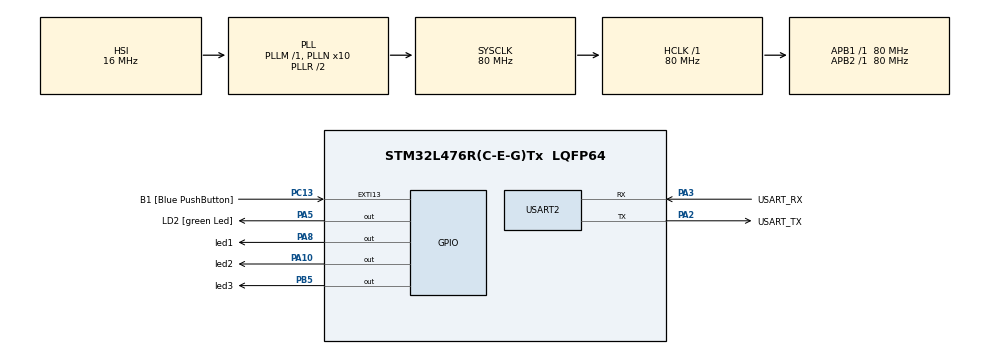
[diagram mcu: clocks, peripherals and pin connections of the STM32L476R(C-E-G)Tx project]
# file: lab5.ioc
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FREERTOS.Tasks01=myTask01,0,128,StartTask01,Default,NULL,Dynamic,NULL,NULL;myTask02,-3,128,StartTask02,Default,NULL,Dynamic,NULL,NULL;myTask03,-3,128,StartTask03,Default,NULL,Dynamic,NULL,NULL
FREERTOS.configUSE_NEWLIB_REENTRANT=1
Mcu.Family=STM32L4
Mcu.Name=STM32L476R(C-E-G)Tx
Mcu.Package=LQFP64
NVIC.EXTI15_10_IRQn=true\:5\:0\:false\:false\:true\:true\:true\:true\:true
NVIC.PriorityGroup=NVIC_PRIORITYGROUP_4
NVIC.TIM1_UP_TIM16_IRQn=true\:15\:0\:false\:false\:true\:false\:false\:true\:true
NVIC.TimeBase=TIM1_UP_TIM16_IRQn
NVIC.TimeBaseIP=TIM1
PA10.GPIO_Label=led2
PA10.Signal=GPIO_Output
PA13\ (JTMS-SWDIO).GPIO_Label=TMS
PA13\ (JTMS-SWDIO).Mode=Serial_Wire
PA13\ (JTMS-SWDIO).Signal=SYS_JTMS-SWDIO
PA14\ (JTCK-SWCLK).GPIO_Label=TCK
PA14\ (JTCK-SWCLK).Mode=Serial_Wire
PA14\ (JTCK-SWCLK).Signal=SYS_JTCK-SWCLK
PA2.GPIO_Label=USART_TX
PA2.GPIO_Mode=GPIO_MODE_AF_PP
PA2.GPIO_PuPd=GPIO_NOPULL
PA2.GPIO_Speed=GPIO_SPEED_FREQ_VERY_HIGH
PA2.Mode=Asynchronous
PA2.Signal=USART2_TX
PA3.GPIO_Label=USART_RX
PA3.GPIO_Mode=GPIO_MODE_AF_PP
PA3.GPIO_PuPd=GPIO_NOPULL
PA3.GPIO_Speed=GPIO_SPEED_FREQ_VERY_HIGH
PA3.Mode=Asynchronous
PA3.Signal=USART2_RX
PA5.GPIO_Label=LD2 [green Led]
PA5.GPIO_ModeDefaultOutputPP=GPIO_MODE_OUTPUT_PP
PA5.GPIO_PuPd=GPIO_NOPULL
PA5.GPIO_Speed=GPIO_SPEED_FREQ_LOW
PA5.Signal=GPIO_Output
PA8.GPIO_Label=led1
PA8.Signal=GPIO_Output
PB3\ (JTDO-TRACESWO).GPIO_Label=SWO
PB3\ (JTDO-TRACESWO).Signal=SYS_JTDO-SWO
PB5.GPIO_Label=led3
PB5.Signal=GPIO_Output
PC13.GPIO_Label=B1 [Blue PushButton]
PC13.GPIO_ModeDefaultEXTI=GPIO_MODE_IT_FALLING
PC13.GPIO_PuPd=GPIO_NOPULL
PC13.Signal=GPXTI13
PC14-OSC32_IN\ (PC14).Mode=LSE-External-Oscillator
PC14-OSC32_IN\ (PC14).Signal=RCC_OSC32_IN
PC15-OSC32_OUT\ (PC15).Mode=LSE-External-Oscillator
PC15-OSC32_OUT\ (PC15).Signal=RCC_OSC32_OUT
PH0-OSC_IN\ (PH0).Signal=RCC_OSC_IN
PH1-OSC_OUT\ (PH1).Signal=RCC_OSC_OUT
ProjectManager.HeapSize=0x200
ProjectManager.StackSize=0x400
ProjectManager.TargetToolchain=STM32CubeIDE
RCC.ADCFreq_Value=64000000
RCC.AHBFreq_Value=80000000
RCC.APB1Freq_Value=80000000
RCC.APB1TimFreq_Value=80000000
RCC.APB2Freq_Value=80000000
RCC.APB2TimFreq_Value=80000000
RCC.CortexFreq_Value=80000000
RCC.HCLKFreq_Value=80000000
RCC.HSE_VALUE=8000000
RCC.HSI_VALUE=16000000
RCC.MSI_VALUE=4000000
RCC.PLLN=10
RCC.PLLSourceVirtual=RCC_PLLSOURCE_HSI
RCC.PREFETCH_ENABLE=1
RCC.SYSCLKFreq_VALUE=80000000
RCC.SYSCLKSource=RCC_SYSCLKSOURCE_PLLCLK
RCC.USBFreq_Value=64000000
RCC.VCOOutputFreq_Value=160000000
USART2.VirtualMode-Asynchronous=VM_ASYNC
VP_FREERTOS_VS_CMSIS_V1.Mode=CMSIS_V1
VP_SYS_VS_tim1.Mode=TIM1
board=NUCLEO-L476RG

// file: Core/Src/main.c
/* USER CODE BEGIN Header */
/**
  ******************************************************************************
  * @file           : main.c
  * @brief          : Main program body
  ******************************************************************************
  * @attention
  *
  * Copyright (c) 2025 STMicroelectronics.
  * All rights reserved.
  *
  * This software is licensed under terms that can be found in the LICENSE file
  * in the root directory of this software component.
  * If no LICENSE file comes with this software, it is provided AS-IS.
  *
  ******************************************************************************
  */
/* USER CODE END Header */
#include "main.h"
#include "cmsis_os.h"
#include "usart.h"
#include "gpio.h"

void SystemClock_Config(void);
void MX_FREERTOS_Init(void);

int main(void)
{

  /* MCU Configuration--------------------------------------------------------*/

  /* Reset of all peripherals, Initializes the Flash interface and the Systick. */
  HAL_Init();

  /* Configure the system clock */
  SystemClock_Config();

  /* Initialize all configured peripherals */
  MX_GPIO_Init();
  MX_USART2_UART_Init();

  /* Call init function for freertos objects (in cmsis_os2.c) */
  MX_FREERTOS_Init();

  /* Start scheduler */
  osKernelStart();

  /* We should never get here as control is now taken by the scheduler */

  /* Infinite loop */
  while (1)
  {

  }
}

void SystemClock_Config(void)
{
  RCC_OscInitTypeDef RCC_OscInitStruct = {0};
  RCC_ClkInitTypeDef RCC_ClkInitStruct = {0};

  /** Configure the main internal regulator output voltage
  */
  if (HAL_PWREx_ControlVoltageScaling(PWR_REGULATOR_VOLTAGE_SCALE1) != HAL_OK)
  {
    Error_Handler();
  }

  /** Initializes the RCC Oscillators according to the specified parameters
  * in the RCC_OscInitTypeDef structure.
  */
  RCC_OscInitStruct.OscillatorType = RCC_OSCILLATORTYPE_HSI;
  RCC_OscInitStruct.HSIState = RCC_HSI_ON;
  RCC_OscInitStruct.HSICalibrationValue = RCC_HSICALIBRATION_DEFAULT;
  RCC_OscInitStruct.PLL.PLLState = RCC_PLL_ON;
  RCC_OscInitStruct.PLL.PLLSource = RCC_PLLSOURCE_HSI;
  RCC_OscInitStruct.PLL.PLLM = 1;
  RCC_OscInitStruct.PLL.PLLN = 10;
  RCC_OscInitStruct.PLL.PLLP = RCC_PLLP_DIV7;
  RCC_OscInitStruct.PLL.PLLQ = RCC_PLLQ_DIV2;
  RCC_OscInitStruct.PLL.PLLR = RCC_PLLR_DIV2;
  if (HAL_RCC_OscConfig(&RCC_OscInitStruct) != HAL_OK)
  {
    Error_Handler();
  }

  /** Initializes the CPU, AHB and APB buses clocks
  */
  RCC_ClkInitStruct.ClockType = RCC_CLOCKTYPE_HCLK|RCC_CLOCKTYPE_SYSCLK
                              |RCC_CLOCKTYPE_PCLK1|RCC_CLOCKTYPE_PCLK2;
  RCC_ClkInitStruct.SYSCLKSource = RCC_SYSCLKSOURCE_PLLCLK;
  RCC_ClkInitStruct.AHBCLKDivider = RCC_SYSCLK_DIV1;
  RCC_ClkInitStruct.APB1CLKDivider = RCC_HCLK_DIV1;
  RCC_ClkInitStruct.APB2CLKDivider = RCC_HCLK_DIV1;

  if (HAL_RCC_ClockConfig(&RCC_ClkInitStruct, FLASH_LATENCY_4) != HAL_OK)
  {
    Error_Handler();
  }
}

void HAL_TIM_PeriodElapsedCallback(TIM_HandleTypeDef *htim)
{
  if (htim->Instance == TIM1) {
    HAL_IncTick();
  }
}

void Error_Handler(void)
{
  __disable_irq();
  while (1)
  {
  }
}

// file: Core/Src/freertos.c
/* USER CODE BEGIN Header */
/**
  ******************************************************************************
  * File Name          : freertos.c
  * Description        : Code for freertos applications
  ******************************************************************************
  * @attention
  *
  * Copyright (c) 2025 STMicroelectronics.
  * All rights reserved.
  *
  * This software is licensed under terms that can be found in the LICENSE file
  * in the root directory of this software component.
  * If no LICENSE file comes with this software, it is provided AS-IS.
  *
  ******************************************************************************
  */
/* USER CODE END Header */

#include "FreeRTOS.h"
#include "task.h"
#include "main.h"
#include "cmsis_os.h"

/* USER CODE BEGIN Includes */
#include "sharedtasknames.h"
/* USER CODE END Includes */

osThreadId myTask01Handle;
osThreadId myTask02Handle;
osThreadId myTask03Handle;

void StartTask01(void const * argument);
void StartTask02(void const * argument);
void StartTask03(void const * argument);

void MX_FREERTOS_Init(void); /* (MISRA C 2004 rule 8.1) */

/* GetIdleTaskMemory prototype (linked to static allocation support) */
void vApplicationGetIdleTaskMemory( StaticTask_t **ppxIdleTaskTCBBuffer, StackType_t **ppxIdleTaskStackBuffer, uint32_t *pulIdleTaskStackSize );

/* USER CODE BEGIN GET_IDLE_TASK_MEMORY */
static StaticTask_t xIdleTaskTCBBuffer;
static StackType_t xIdleStack[configMINIMAL_STACK_SIZE];

void vApplicationGetIdleTaskMemory( StaticTask_t **ppxIdleTaskTCBBuffer, StackType_t **ppxIdleTaskStackBuffer, uint32_t *pulIdleTaskStackSize )
{
  *ppxIdleTaskTCBBuffer = &xIdleTaskTCBBuffer;
  *ppxIdleTaskStackBuffer = &xIdleStack[0];
  *pulIdleTaskStackSize = configMINIMAL_STACK_SIZE;
  /* place for user code */
}
/* USER CODE END GET_IDLE_TASK_MEMORY */

void MX_FREERTOS_Init(void) {

  /* Create the thread(s) */
  /* definition and creation of myTask01 */
  osThreadDef(myTask01, StartTask01, osPriorityNormal, 0, 128);
  myTask01Handle = osThreadCreate(osThread(myTask01), NULL);

  /* definition and creation of myTask02 */
  osThreadDef(myTask02, StartTask02, osPriorityIdle, 0, 128);
  myTask02Handle = osThreadCreate(osThread(myTask02), NULL);

  /* definition and creation of myTask03 */
  osThreadDef(myTask03, StartTask03, osPriorityIdle, 0, 128);
  myTask03Handle = osThreadCreate(osThread(myTask03), NULL);

}

void StartTask01(void const * argument)
{
  /* USER CODE BEGIN StartTask01 */
  /* Infinite loop */
  for(;;)
  {
	  for (int i = 0; i < 10; i++){
		  HAL_GPIO_WritePin(GPIOA, GPIO_PIN_8, GPIO_PIN_SET);
	  	  osDelay(250);
	  	  HAL_GPIO_WritePin(GPIOA, GPIO_PIN_8, GPIO_PIN_RESET);
	  	  osDelay(500);
	  }
	  osSignalWait(0x01, osWaitForever);
  }
  /* USER CODE END StartTask01 */
}

void StartTask02(void const * argument)
{
  /* USER CODE BEGIN StartTask02 */
  /* Infinite loop */
  for(;;)
  {
	  for (int i = 0; i < 10; i++){
	    HAL_GPIO_WritePin(GPIOA, GPIO_PIN_10, GPIO_PIN_SET);
	  	osDelay(250);
	  	HAL_GPIO_WritePin(GPIOA, GPIO_PIN_10, GPIO_PIN_RESET);
	  	osDelay(250);
	  }
	  osSignalWait(0x20, osWaitForever);
  }
  /* USER CODE END StartTask02 */
}

void StartTask03(void const * argument)
{
  /* USER CODE BEGIN StartTask03 */
  /* Infinite loop */
  for(;;)
  {
	  for (int i = 0; i < 10; i++){
	  	HAL_GPIO_WritePin(GPIOB, GPIO_PIN_5, GPIO_PIN_SET);
	  	osDelay(500);
	  	HAL_GPIO_WritePin(GPIOB, GPIO_PIN_5, GPIO_PIN_RESET);
	  	osDelay(500);
	  }
	  osSignalWait(0x04, osWaitForever);
  }
  /* USER CODE END StartTask03 */
}
